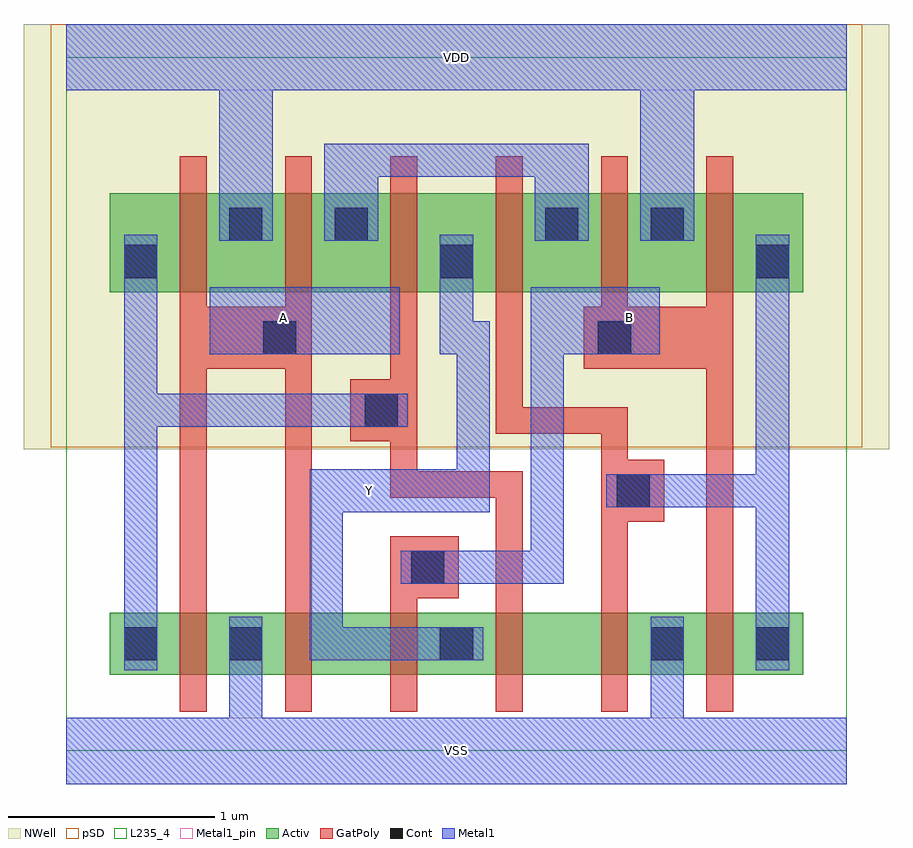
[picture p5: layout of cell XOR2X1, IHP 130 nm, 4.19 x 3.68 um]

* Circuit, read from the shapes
.subckt XOR2X1 A B VDD VSS Y
XM1 VSS A n1 VSUBS sg13_lv_nmos w=0.3u l=0.13u
XM2 n2 A VSS VSUBS sg13_lv_nmos w=0.3u l=0.13u
XM3 Y B n2 VSUBS sg13_lv_nmos w=0.3u l=0.13u
XM4 n3 n1 Y VSUBS sg13_lv_nmos w=0.3u l=0.13u
XM5 VSS n4 n3 VSUBS sg13_lv_nmos w=0.3u l=0.13u
XM6 n4 B VSS VSUBS sg13_lv_nmos w=0.3u l=0.13u
XM7 VDD A n1 n5 sg13_lv_pmos w=0.48u l=0.13u
XM8 n6 A VDD n5 sg13_lv_pmos w=0.48u l=0.13u
XM9 Y n1 n6 n5 sg13_lv_pmos w=0.48u l=0.13u
XM10 n6 n4 Y n5 sg13_lv_pmos w=0.48u l=0.13u
XM11 VDD B n6 n5 sg13_lv_pmos w=0.48u l=0.13u
XM12 n4 B VDD n5 sg13_lv_pmos w=0.48u l=0.13u
.ends

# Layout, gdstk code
import gdstk
lib = gdstk.Library(unit=1e-6, precision=1e-09)
def R(c, l, rs):  # rectangles x0, y0, x1, y1
    for r in rs: c.add(gdstk.rectangle(r[:2], r[2:], *l))
def A(c, l, x, y, w, h, nx, ny, dx, dy):  # array of equal rectangles
    R(c, l, [(x+i*dx, y+j*dy, x+i*dx+w, y+j*dy+h) for i in range(nx) for j in range(ny)])
def P(c, l, *ps):  # polygons
    for p in ps: c.add(gdstk.Polygon(p, *l))
Activ = (1, 0)
GatPoly = (5, 0)
Cont = (6, 0)
Metal1 = (8, 0)
Metal1_pin = (8, 2)
pSD = (14, 0)
NWell = (31, 0)
L235_4 = (235, 4)

xor2x1 = lib.new_cell('XOR2X1')
R(xor2x1, Activ, [(0.21,0.37,3.57,0.67), (0.21,2.22,3.57,2.7)])
P(xor2x1, GatPoly, [(1.9,1.04),(1.57,1.04),(1.57,0.19),(1.7,0.19),(1.7,0.74),(1.9,0.74)],
  [(2.21,1.355),(1.7,1.355),(1.7,2.88),(1.57,2.88),(1.57,1.8),(1.375,1.8),(1.375,1.5),(1.57,1.5),(1.57,1.225),(2.08,1.225),(2.08,0.19),(2.21,0.19)],
  [(1.19,2.88),(1.06,2.88),(1.06,2.15),(0.68,2.15),(0.68,2.88),(0.55,2.88),(0.55,0.19),(0.68,0.19),(0.68,1.85),(1.06,1.85),(1.06,0.19),(1.19,0.19)],
  [(3.23,2.88),(3.1,2.88),(3.1,2.15),(2.72,2.15),(2.72,2.88),(2.59,2.88),(2.59,2.15),(2.505,2.15),(2.505,1.85),(3.1,1.85),(3.1,0.19),(3.23,0.19)],
  [(2.895,1.41),(2.72,1.41),(2.72,1.665),(2.21,1.665),(2.21,2.88),(2.08,2.88),(2.08,1.535),(2.59,1.535),(2.59,0.19),(2.72,0.19),(2.72,1.11),(2.895,1.11)])
A(xor2x1, Cont, 0.79, 0.44, 0.16, 0.16, 3, 1, 1.02, 0)
A(xor2x1, Cont, 0.28, 2.29, 0.16, 0.16, 3, 1, 1.53, 0)
R(xor2x1, Cont, [(0.28,0.44,0.44,0.6), (3.34,0.44,3.5,0.6), (1.67,0.81,1.83,0.97), (2.665,1.18,2.825,1.34), (1.445,1.57,1.605,1.73), (0.955,1.92,1.115,2.08), (2.575,1.92,2.735,2.08), (0.79,2.47,0.95,2.63), (1.3,2.47,1.46,2.63), (2.32,2.47,2.48,2.63), (2.83,2.47,2.99,2.63)])
R(xor2x1, Metal1, [(0.695,1.92,1.615,2.245)])
P(xor2x1, Metal1, [(3.78,3.52),(0,3.52),(0,3.2),(0.74,3.2),(0.74,2.47),(1,2.47),(1,3.2),(2.78,3.2),(2.78,2.47),(3.04,2.47),(3.04,3.2),(3.78,3.2)],
  [(2.53,2.94),(1.25,2.94),(1.25,2.47),(1.51,2.47),(1.51,2.78),(2.27,2.78),(2.27,2.47),(2.53,2.47)],
  [(2.875,2.245),(2.25,2.245),(2.25,0.97),(1.62,0.97),(1.62,0.81),(2.41,0.81),(2.41,1.92),(2.875,1.92)],
  [(3.78,0.16),(2.99,0.16),(2.99,0.65),(2.83,0.65),(2.83,0.16),(0.95,0.16),(0.95,0.65),(0.79,0.65),(0.79,0.16),(0,0.16),(0,-0.16),(3.78,-0.16)],
  [(3.5,2.5),(3.34,2.5),(3.34,1.34),(2.615,1.34),(2.615,1.18),(3.34,1.18),(3.34,0.39),(3.5,0.39)],
  [(1.655,1.73),(0.44,1.73),(0.44,2.5),(0.28,2.5),(0.28,0.39),(0.44,0.39),(0.44,1.57),(1.655,1.57)],
  [(2.05,2.08),(1.97,2.08),(1.97,2.5),(1.81,2.5),(1.81,1.92),(1.89,1.92),(1.89,1.365),(1.18,1.365),(1.18,0.44),(2.02,0.44),(2.02,0.6),(1.34,0.6),(1.34,1.155),(2.05,1.155)])
R(xor2x1, Metal1_pin, [(0,-0.16,3.78,0.16), (0.695,1.92,1.615,2.245), (0,3.2,3.78,3.52)])
P(xor2x1, Metal1_pin, [(2.875,2.245),(2.25,2.245),(2.25,0.97),(1.62,0.97),(1.62,0.81),(2.41,0.81),(2.41,1.92),(2.875,1.92)],
  [(2.05,2.08),(1.97,2.08),(1.97,2.5),(1.81,2.5),(1.81,1.92),(1.89,1.92),(1.89,1.365),(1.18,1.365),(1.18,0.44),(2.02,0.44),(2.02,0.6),(1.34,0.6),(1.34,1.155),(2.05,1.155)])
R(xor2x1, pSD, [(-0.075,1.47,3.855,3.52)])
R(xor2x1, NWell, [(-0.205,1.46,3.985,3.52)])
R(xor2x1, L235_4, [(0,0,3.78,3.36)])
xor2x1.add(gdstk.Label('VSS', (1.89,0), layer=8, texttype=25))
xor2x1.add(gdstk.Label('A', (1.05,2.1), layer=8, texttype=25))
xor2x1.add(gdstk.Label('Y', (1.47,1.26), layer=8, texttype=25))
xor2x1.add(gdstk.Label('B', (2.73,2.1), layer=8, texttype=25))
xor2x1.add(gdstk.Label('VDD', (1.89,3.36), layer=8, texttype=25))

lib.write_gds('XOR2X1.gds')
